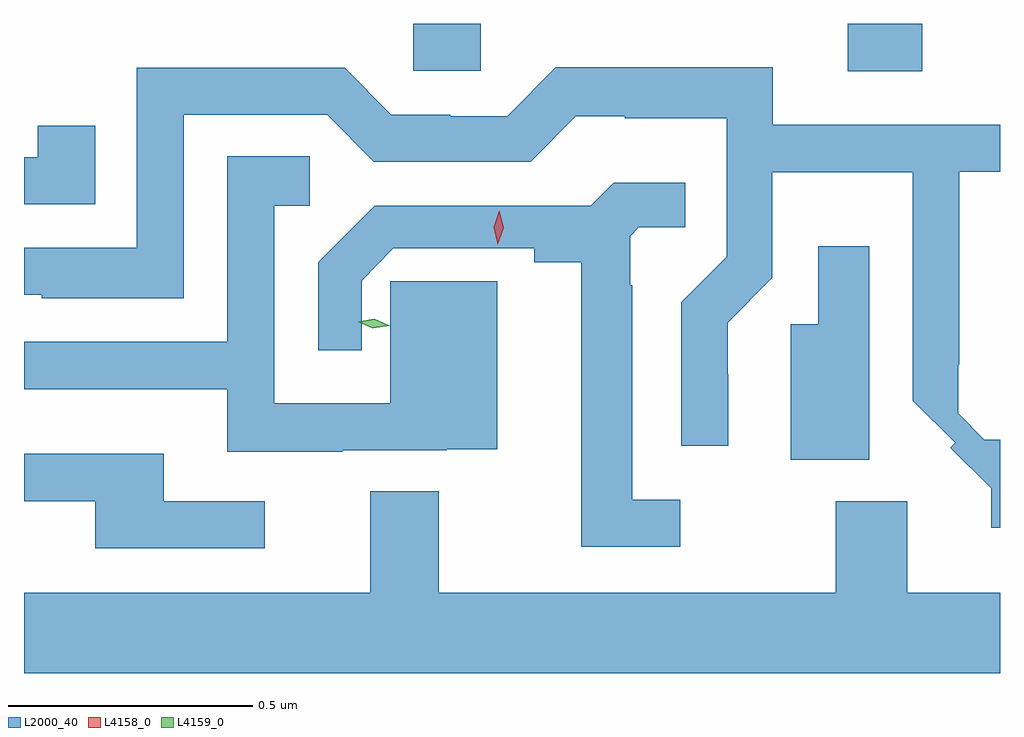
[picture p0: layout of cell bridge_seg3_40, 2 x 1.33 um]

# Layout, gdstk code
import gdstk
lib = gdstk.Library(unit=1e-6, precision=1e-09)
def R(c, l, rs):  # rectangles x0, y0, x1, y1
    for r in rs: c.add(gdstk.rectangle(r[:2], r[2:], *l))
def P(c, l, *ps):  # polygons
    for p in ps: c.add(gdstk.Polygon(p, *l))
L2000_40 = (2000, 40)
L4158_0 = (4158, 0)
L4159_0 = (4159, 0)

bridge_seg3_40 = lib.new_cell('bridge_seg3_40')
R(bridge_seg3_40, L2000_40, [(677.189,708.809,677.342,708.906), (676.299,708.81,676.437,708.906)])
P(bridge_seg3_40, L2000_40, [(677.501,708.054),(677.469,708.054),(677.415,708.108),(677.415,708.208),(677.418,708.208),(677.418,708.603),(677.501,708.603),(677.501,708.699),(677.035,708.699),(677.035,708.817),(676.591,708.817),(676.491,708.717),(676.374,708.717),(676.374,708.72),(676.254,708.72),(676.158,708.816),(675.732,708.816),(675.732,708.447),(675.501,708.447),(675.501,708.351),(675.537,708.351),(675.537,708.344),(675.828,708.344),(675.828,708.72),(676.122,708.72),(676.218,708.624),(676.539,708.624),(676.632,708.717),(676.732,708.717),(676.732,708.713),(676.941,708.713),(676.941,708.429),(676.848,708.336),(676.848,708.042),(676.944,708.042),(676.944,708.188),(676.943,708.188),(676.943,708.294),(677.034,708.386),(677.034,708.602),(677.322,708.602),(677.322,708.134),(677.409,708.048),(677.399,708.038),(677.483,707.955),(677.483,707.874),(677.501,707.874)],
  [(675.647,708.697),(675.529,708.697),(675.529,708.633),(675.501,708.633),(675.501,708.537),(675.647,708.537)],
  [(676.153,708.033),(676.367,708.033),(676.367,708.035),(676.471,708.035),(676.471,708.379),(676.251,708.379),(676.251,708.129),(676.014,708.129),(676.014,708.534),(676.087,708.534),(676.087,708.635),(675.918,708.635),(675.918,708.255),(675.501,708.255),(675.501,708.158),(675.917,708.158),(675.917,708.029),(676.153,708.029)],
  [(676.846,707.931),(676.747,707.931),(676.747,708.371),(676.743,708.371),(676.743,708.471),(676.761,708.489),(676.856,708.489),(676.856,708.581),(676.71,708.581),(676.662,708.534),(676.22,708.534),(676.104,708.418),(676.104,708.237),(676.193,708.237),(676.193,708.38),(676.258,708.446),(676.547,708.446),(676.547,708.418),(676.643,708.418),(676.643,707.835),(676.846,707.835)],
  [(677.233,708.451),(677.129,708.451),(677.129,708.291),(677.072,708.291),(677.072,708.013),(677.233,708.013)],
  [(675.994,707.928),(675.787,707.928),(675.787,708.025),(675.501,708.025),(675.501,707.928),(675.647,707.928),(675.647,707.832),(675.994,707.832)],
  [(677.501,707.74),(677.311,707.74),(677.311,707.928),(677.164,707.928),(677.164,707.74),(676.351,707.74),(676.351,707.948),(676.211,707.948),(676.211,707.74),(675.501,707.74),(675.501,707.576),(677.501,707.576)])
P(bridge_seg3_40, L4158_0, [(676.472,708.454),(676.472,708.455),(676.464,708.489),(676.475,708.523),(676.475,708.523),(676.475,708.523),(676.484,708.488),(676.472,708.455)])
P(bridge_seg3_40, L4159_0, [(676.216,708.282),(676.185,708.296),(676.185,708.296),(676.185,708.296),(676.219,708.302),(676.25,708.288),(676.25,708.288),(676.25,708.288)])

lib.write_gds('bridge_seg3_40.gds')
